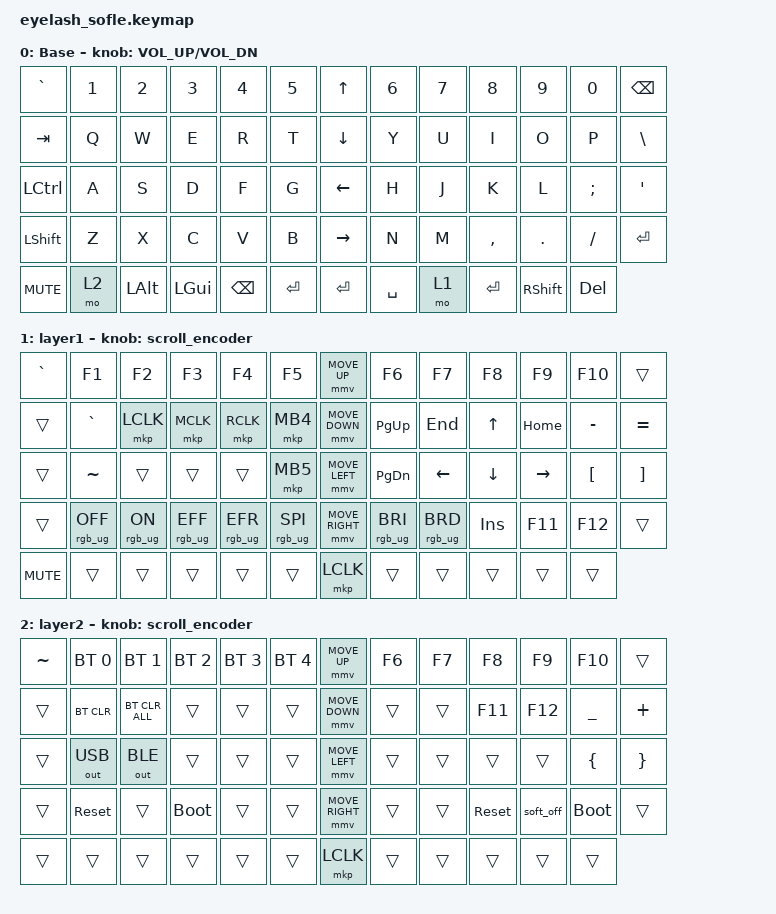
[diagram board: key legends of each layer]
#define ZMK_POINTING_DEFAULT_MOVE_VAL 1200  // 600
#define ZMK_POINTING_DEFAULT_SCRL_VAL 25   // 10

#include <input/processors.dtsi>
#include <zephyr/dt-bindings/input/input-event-codes.h>
#include <behaviors.dtsi>
#include <dt-bindings/zmk/bt.h>
#include <dt-bindings/zmk/ext_power.h>
#include <dt-bindings/zmk/keys.h>
#include <dt-bindings/zmk/outputs.h>
#include <dt-bindings/zmk/pointing.h>
#include <dt-bindings/zmk/rgb.h>

&mmv_input_listener { input-processors = <&zip_xy_scaler 2 1>; };

&msc_input_listener { input-processors = <&zip_scroll_scaler 2 1>; };

&msc {
    acceleration-exponent = <1>;      // 0
    time-to-max-speed-ms = <100>;       // 300
    delay-ms = <0>;                   // 0
};

&mmv {
    time-to-max-speed-ms = <500>;
    acceleration-exponent = <1>;
    trigger-period-ms = <16>;
};

&soft_off { hold-time-ms = <2000>; };

/ {
    scroll_encoder: scroll_encoder {
        compatible = "zmk,behavior-sensor-rotate";
        #sensor-binding-cells = <0>;
        bindings = <&msc SCRL_DOWN>, <&msc SCRL_UP>;

        tap-ms = <100>;
    };

    behaviors {
        hml: home_row_mod_left {
            compatible = "zmk,behavior-hold-tap";
            #binding-cells = <2>;
            flavor = "balanced";
            require-prior-idle-ms = <150>;
            tapping-term-ms = <200>;
            quick-tap-ms = <175>;
            bindings = <&kp>, <&kp>;
            hold-trigger-key-positions = <A S D F 27 28 29 30>;
            hold-trigger-on-release;
        };

        hmr: home_row_mod_right {
            compatible = "zmk,behavior-hold-tap";
            #binding-cells = <2>;
            flavor = "balanced";
            require-prior-idle-ms = <150>;
            tapping-term-ms = <200>;
            quick-tap-ms = <175>;
            bindings = <&kp>, <&kp>;
            hold-trigger-key-positions = <J K L SEMI 34 35 36 37>;
            hold-trigger-on-release;
        };

        as: auto_shift {
            compatible = "zmk,behavior-hold-tap";
            label = "Auto Shift";
            bindings = <&kp>, <&kp>;
            #binding-cells = <2>;
            tapping-term-ms = <135>;
            quick-tap-ms = <0>;
        };

        tiesc: tilde_escape_shift {
            compatible = "zmk,behavior-mod-morph";
            #binding-cells = <0>;
            bindings = <&kp ESC>, <&kp TILDE>;
            mods = <(MOD_LSFT|MOD_RSFT)>;
        };

        grtiesc: grave_tilde_escape {
            compatible = "zmk,behavior-mod-morph";
            #binding-cells = <0>;
            bindings = <&tiesc>, <&kp GRAVE>;
            mods = <(MOD_LGUI|MOD_RGUI)>;
        };
    };

    combos {
        compatible = "zmk,combos";

        softoff {
            bindings = <&soft_off>;
            key-positions = <14 28 40>;
        };
    };

    macros {
        SHIFT_MCLK: SHIFT_MCLK {
            compatible = "zmk,behavior-macro";
            #binding-cells = <0>;
            bindings =
                <&macro_press>,
                <&kp LEFT_SHIFT>,
                <&macro_press>,
                <&mkp MB3>,
                <&macro_pause_for_release>,
                <&macro_release>,
                <&kp LEFT_SHIFT &mkp MB3>;

            label = "SHIFT_MCLK";
        };
    };

    keymap {
        compatible = "zmk,keymap";

        layer0 {
            bindings = <
&kp GRAVE   &kp N1  &kp N2        &kp N3        &kp N4         &kp N5       &kp UP_ARROW     &kp N6     &kp N7  &kp N8     &kp N9           &kp N0      &kp BACKSPACE
&kp TAB     &kp Q   &kp W         &kp E         &kp R          &kp T        &kp DOWN_ARROW   &kp Y      &kp U   &kp I      &kp O            &kp P       &kp BSLH
&kp LCTRL   &kp A   &kp S         &kp D         &kp F          &kp G        &kp LEFT_ARROW   &kp H      &kp J   &kp K      &kp L            &kp SEMI    &kp APOS
&kp LSHFT   &kp Z   &kp X         &kp C         &kp V          &kp B        &kp RIGHT_ARROW  &kp N      &kp M   &kp COMMA  &kp DOT          &kp FSLH    &kp ENTER
&kp C_MUTE  &mo 2   &kp LEFT_ALT  &kp LEFT_GUI  &kp BACKSPACE  &kp ENTER    &kp ENTER        &kp SPACE  &mo 1   &kp ENTER  &kp RIGHT_SHIFT  &kp DELETE
            >;

            sensor-bindings = <&inc_dec_kp C_VOLUME_UP C_VOL_DN>;
            display-name = "Base";
        };

        layer_1 {
            bindings = <
&kp GRAVE   &kp F1           &kp F2          &kp F3           &kp F4           &kp F5             &mmv MOVE_UP     &kp F6           &kp F7           &kp F8      &kp F9     &kp F10           &trans
&trans      &kp GRAVE        &mkp LCLK       &mkp MCLK        &mkp RCLK        &mkp MB4           &mmv MOVE_DOWN   &kp PG_UP        &kp END          &kp UP      &kp HOME   &kp MINUS         &kp EQUAL
&trans      &kp TILDE        &trans          &trans           &trans           &mkp MB5           &mmv MOVE_LEFT   &kp PG_DN        &kp LEFT         &kp DOWN    &kp RIGHT  &kp LEFT_BRACKET  &kp RIGHT_BRACKET
&trans      &rgb_ug RGB_OFF  &rgb_ug RGB_ON  &rgb_ug RGB_EFF  &rgb_ug RGB_EFR  &rgb_ug RGB_SPI    &mmv MOVE_RIGHT  &rgb_ug RGB_BRI  &rgb_ug RGB_BRD  &kp INSERT  &kp F11    &kp F12           &trans
&kp C_MUTE  &trans           &trans          &trans           &trans           &trans             &mkp LCLK        &trans           &trans           &trans      &trans     &trans
            >;

            display-name = "layer1";
            sensor-bindings = <&scroll_encoder>;
        };

        layer_2 {
            bindings = <
&kp TILDE  &bt BT_SEL 0  &bt BT_SEL 1    &bt BT_SEL 2  &bt BT_SEL 3  &bt BT_SEL 4    &mmv MOVE_UP     &kp F6  &kp F7  &kp F8      &kp F9     &kp F10      &trans
&trans     &bt BT_CLR    &bt BT_CLR_ALL  &trans        &trans        &trans          &mmv MOVE_DOWN   &trans  &trans  &kp F11     &kp F12    &kp UNDER    &kp PLUS
&trans     &out OUT_USB  &out OUT_BLE    &trans        &trans        &trans          &mmv MOVE_LEFT   &trans  &trans  &trans      &trans     &kp LBRC     &kp RBRC
&trans     &sys_reset    &trans          &bootloader   &trans        &trans          &mmv MOVE_RIGHT  &trans  &trans  &sys_reset  &soft_off  &bootloader  &trans
&trans     &trans        &trans          &trans        &trans        &trans          &mkp LCLK        &trans  &trans  &trans      &trans     &trans
            >;

            display-name = "layer2";
            sensor-bindings = <&scroll_encoder>;
        };
    };
};
